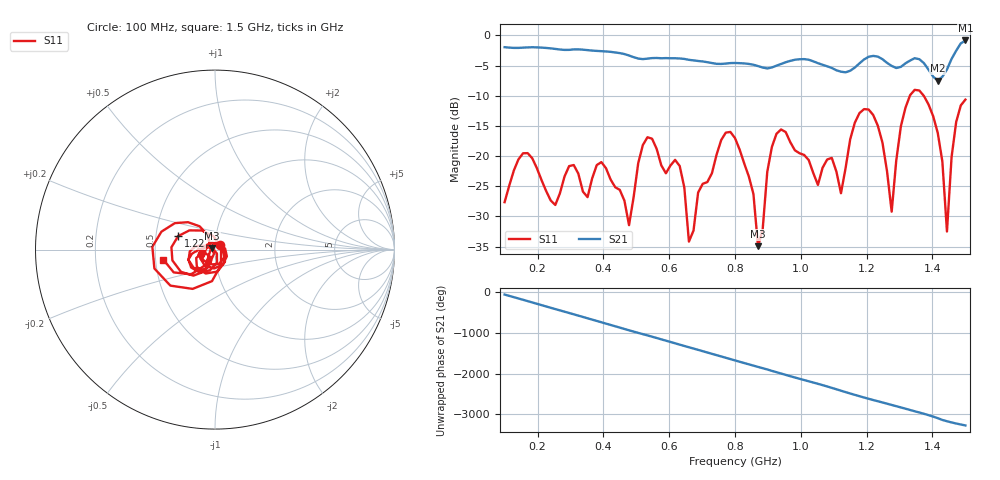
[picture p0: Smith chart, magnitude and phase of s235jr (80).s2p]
! NanoVNA-App
! Date: 2025-09-26 09:45:24
! Start: 100MHz Stop: 1,5GHz Points: 101
! S-Parameter data: F S11 S21 S12 S22
# Hz S RI R 50
!  Frequency  S11_Real  S11_Imag  S21_Real  S21_Imag  S12_Real  S12_Imag  S22_Real  S22_Imag
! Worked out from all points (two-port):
!   101 points, 100 MHz to 1.5 GHz, reference 50 ohm
!   highest |S21| = -0.84 dB at 1.5 GHz (marker M1); lowest = -7.5 dB at 1.416 GHz (marker M2)
!   |S21| within 3 dB of the highest: start of sweep to 506 MHz; 536.1 MHz to 635 MHz (98.96 MHz wide, 16.9 % of centre) (the widest 2 of 5)
!   lowest |S11| = -34.9 dB at 870 MHz (marker M3), VSWR 1.04, Z = 48.5 + j0.918 ohm
!   |S11| at or under -10 dB: start of sweep to 1.331 GHz; 1.373 GHz to end of sweep
!   S12 and S22 are empty: the file has one direction only
!   S11 on the Smith chart (normalised r, x): 100 MHz: 1.06, +0.06; 1.22 GHz: 0.65, +0.10; 1.5 GHz: 0.55, -0.07
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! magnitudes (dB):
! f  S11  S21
! 100 MHz  -27.6  -2.0
! 156 MHz  -19.5  -2.0
! 338 MHz  -25.9  -2.4
! 394 MHz  -21.0  -2.6
! 478 MHz  -31.5  -3.3
! 520 MHz  -18.2  -3.9
! 576 MHz  -21.5  -3.8
! 632 MHz  -21.6  -3.8
! 660 MHz  -34.2  -4.0
! 800 MHz  -17.0  -4.6
! 870 MHz  -34.9  -5.1
! 926 MHz  -16.3  -5.0
! 1.038 GHz  -22.8  -4.3
! 1.122 GHz  -26.2  -6.0
! 1.164 GHz  -14.5  -5.3
! 1.22 GHz  -13.2  -3.4
! 1.276 GHz  -29.2  -5.1
! 1.332 GHz  -9.9  -4.2
! 1.416 GHz  -16.2  -7.5
! 1.444 GHz  -32.5  -5.7
! 1.472 GHz  -14.4  -2.5
! 1.5 GHz  -10.6  -0.8
